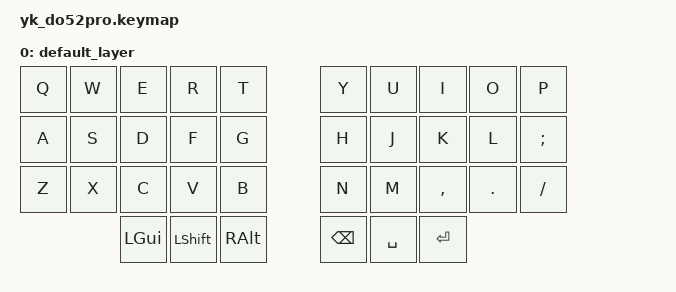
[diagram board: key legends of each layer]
/*
 * Copyright (c) 2020 The ZMK Contributors
 *
 * SPDX-License-Identifier: MIT
 */

#include <behaviors.dtsi>
#include <dt-bindings/zmk/keys.h>
#include <dt-bindings/zmk/bt.h>
#include <dt-bindings/zmk/ext_power.h>


/*
 * Defines to enable/disable features
 *
 * These defines allow us to conditionally enable and disable parts of the keymap config.
 *
 * For example, if we decide to build the firmware without the mouse features, we can
 * disable all the config options that rely on those forks and modules without having
 * to edit the entire keymap file manually every time.
 */

#define HAS_MOUSE_KEYS
#define HAS_MOUSE_TP

#define BASE      0
#define NAVIG     1
#define NUMBER    2
#define SYMBOL    3
#define MEDIA     4
#define FUNCTION  5
#define CONFIG    6
#define MOUSE_TP  7
#define SCROLL_TP 8
#define MOUSE     9


#ifdef HAS_MOUSE_KEYS
  #include <dt-bindings/zmk/mouse.h>
  #include <behaviors/mouse_keys.dtsi>
#endif  // HAS_MOUSE_KEYS

#ifdef HAS_MOUSE_TP
  // We store the trackpoint settings in a separate file
  // to make organization a little easier.
  #include "include/mouse_tp.dtsi"
#endif  // HAS_MOUSE_TP

//#include "include/yk_do52_key.h"                                      // key-position labels
#include "zmk-helpers/helper.h"
//#define KEYS_L LT0 LT1 LT2 LT3 LT4 LM0 LM1 LM2 LM3 LM4 LB0 LB1 LB2 LB3 LB4  // left-hand keys
//#define KEYS_R RT0 RT1 RT2 RT3 RT4 RM0 RM1 RM2 RM3 RM4 RB0 RB1 RB2 RB3 RB4  // right-hand keys
//#define THUMBS LH3 LH2 LH1 LH0 RH0 RH1 RH2 RH3                                      // thumb keys


// Adjust layer keys based on enabled features.
//
// This prevents build errors when we build the firmware
// without the mouse keys PR or the TP module.
#ifdef HAS_MOUSE_KEYS
  #define U_THUMB_INNER &mo MOUSE_KEYS
#else
  #define U_THUMB_INNER &none
#endif  // HAS_MOUSE_KEYS

#ifdef HAS_MOUSE_TP
  #define U_TOG_TP_SET &tog MOUSE_TP_SET
#else
  #define U_TOG_TP_SET &none
#endif  // HAS_MOUSE_TP

// Disable line-wrap in your editor to see a "visualization" of the key layouts
/ {

  
  behaviors {
       /* left-hand HRMs */
        hml: homerow_mods_left {
            compatible = "zmk,behavior-hold-tap";
            flavor = "balanced";
            tapping-term-ms = <280>;
            quick-tap-ms = <175>;                // repeat on tap-into-hold
            require-prior-idle-ms = <150>;
            #binding-cells = <2>;
            bindings = <&kp>, <&kp>;
            //hold-trigger-key-positions = = <KEYS_R THUMBS>;
            hold-trigger-on-release;             // delay positional check until key-release
        };

        /* right-hand HRMs */
        hmr: homerow_mods_right {
            compatible = "zmk,behavior-hold-tap";
            flavor = "balanced";
            tapping-term-ms = <280>;
            quick-tap-ms = <175>;                // repeat on tap-into-hold
            require-prior-idle-ms = <150>;
            #binding-cells = <2>;
            bindings = <&kp>, <&kp>;
            //hold-trigger-key-positions = <KEYS_L THUMBS>;
            hold-trigger-on-release;             // delay positional check until key-release
        };
        tl: thumb_layer {
            compatible = "zmk,behavior-hold-tap";
            flavor = "balanced";
            tapping-term-ms = <280>;
            quick-tap-ms = <175>;                // repeat on tap-into-hold
            require-prior-idle-ms = <150>;
            #binding-cells = <2>;
            bindings = <&mo>, <&kp>;
            hold-trigger-on-release;             // delay positional check until key-release
        };       
  };
  
  keymap {
    compatible = "zmk,keymap";

                default_layer {
// -----------------------------------------------------------------------------------------
// |  TAB |  Q  |  W  |  E  |  R  |  T  |   |  Y  |  U   |  I  |  O  |  P  | BKSP |
// | CTRL |  A  |  S  |  D  |  F  |  G  |   |  H  |  J   |  K  |  L  |  ;  |  '   |
// | SHFT |  Z  |  X  |  C  |  V  |  B  |   |  N  |  M   |  ,  |  .  |  /  | ESC  |
//                    | GUI | LWR | SPC |   | ENT | RSE  | ALT |
                        bindings = <
   &kp Q &kp W &kp E &kp R &kp T   &kp Y &kp U  &kp I     &kp O   &kp P    
   &kp A &kp S &kp D &kp F &kp G   &kp H &kp J  &kp K     &kp L   &kp SEMI 
   &kp Z &kp X &kp C &kp V &kp B   &kp N &kp M  &kp COMMA &kp DOT &kp FSLH 
        &kp LGUI &kp LSHFT &kp RALT &kp BSPC &kp SPACE &kp RET
                        >;
                };

/*
    Nav_layer {
      display-name = "Nav";
         bindings = <
//|------------|-------------|-----------|-----------|---------------|---------------|   |---------------|-------------|-----------|-------------|---------------|------------|
   &trans       &trans        &trans      &trans      &trans          &trans              &trans          &trans        &trans      &trans        &trans          &trans
   &trans       &kp HOME      &kp PG_UP   &kp PG_DN   &kp END         &trans              &trans          &trans        &trans      &trans        &trans          &trans
   &trans       &kp LEFT      &kp DOWN    &kp UP      &kp RIGHT       &caps_word          &trans          &kp LSHIFT    &kp LCTRL   &kp LALT      &kp LMETA       &trans
   &trans       &trans        &trans      &trans      &trans          &trans              &trans          &trans        &trans      &kp RALT      &trans          &trans
   &trans       &trans                                &trans          &trans              &trans          &trans                                  &trans          &trans 
                                        // DPAD Left,      Down,   Middle,     Up,     Right
                                                &trans     &trans  &trans      &trans  &trans  
                                                &trans     &trans  &trans      &trans  &trans 
      >;
    };

    Num_layer {
      display-name = "Number";
        bindings = <
//|------------|-------------|-----------|-----------|---------------|---------------|   |---------------|-------------|-------------|-------------|---------------|------------|
   &kp F12      &kp F1        &kp F2      &kp F3      &kp F4          &kp F5              &kp F6          &kp F7        &kp F8        &kp F9        &kp F10         &kp F11         
   &trans       &trans        &trans      &trans      &trans          &trans              &kp GRAVE       &kp NUMBER_7  &kp NUMBER_8  &kp NUMBER_9  &kp EQUAL       &trans
   &trans       &kp LMETA     &kp LALT    &kp LCTRL   &kp LSHIFT      &trans              &kp LBKT        &kp NUMBER_4  &kp NUMBER_5  &kp NUMBER_6  &kp SQT         &trans
   &trans       &trans        &kp RALT    &trans      &trans          &trans              &kp RBKT        &kp NUMBER_1  &kp NUMBER_2  &kp NUMBER_3  &kp BSLH        &trans
   &trans       &trans                                &trans          &trans              &kp NUMBER_0    &kp MINUS                                 &trans          &trans 
                                        // DPAD Left,      Down,   Middle,     Up,     Right
                                                &trans     &trans  &trans      &trans  &trans  
                                                &trans     &trans  &trans      &trans  &trans 
      >;
    };

   
    Symb_layer {
      display-name = "Symbol";
          bindings = <
//|------------|-------------|-----------|-----------|---------------|---------------|   |---------------|-------------|-----------|-------------|---------------|------------|
   &kp F12      &kp F1        &kp F2      &kp F3      &kp F4          &kp F5              &kp F6          &kp F7        &kp F8        &kp F9        &kp F10         &kp F11
   &trans       &trans        &trans      &trans      &trans          &trans              &kp TILDE       &kp AMPERSAND &kp STAR      &kp LPAR      &kp PLUS        &trans
   &trans       &kp LMETA     &kp LALT    &kp LCTRL   &kp LSHIFT      &trans              &kp LBRC        &kp DOLLAR    &kp PERCENT   &kp CARET     &kp DQT         &trans
   &trans       &trans        &kp RALT    &trans      &trans          &trans              &kp RBRC        &kp EXCL      &kp AT        &kp HASH      &kp PIPE        &trans
   &trans       &trans                                &trans          &trans              &kp RPAR        &kp UNDER                                 &trans          &trans 
                                        // DPAD Left,      Down,   Middle,     Up,     Right
                                                &trans     &trans  &trans      &trans  &trans  
                                                &trans     &trans  &trans      &trans  &trans
      >;
    };

  Media_layer {
      display-name = "Media";
         bindings = <
//|--------------|-------------|-------------|-------------|---------------|---------------|   |---------------|-------------|-----------|-------------|---------------|------------|
   &studio_unlock &trans        &trans        &trans        &trans          &trans              &trans          &trans        &trans      &trans        &trans          &trans
   &trans         &kp C_BRI_DEC &kp C_VOL_DN  &kp C_VOL_UP  &kp C_BRI_INC   &trans              &trans          &trans        &trans      &trans        &trans          &trans
   &trans         &trans        &trans        &trans        &trans          &trans              &trans          &trans        &trans      &trans        &trans          &trans
   &trans         &trans        &trans        &trans        &trans          &trans              &trans          &trans        &trans      &trans        &trans          &trans
   &trans         &trans                                    &trans          &trans              &trans          &trans                                  &trans          &trans 
                                        // DPAD Left,      Down,   Middle,     Up,     Right
                                                &trans     &trans  &trans      &trans  &trans  
                                                &trans     &trans  &trans      &trans  &trans 
      >;
    };



    Func_layer {
      display-name = "Function";
      bindings = <
//|------------|-------------|-----------|-----------|---------------|---------------|   |---------------|-------------|-----------|-------------|---------------|------------|
   &trans       &trans        &trans      &trans      &trans          &trans              &trans          &trans        &trans      &trans        &trans          &trans
   &trans       &trans        &trans      &trans      &trans          &trans              &trans          &kp F7        &kp F8      &kp F9        &kp F10         &trans
   &trans       &trans        &trans      &trans      &trans          &trans              &trans          &kp F4        &kp F5      &kp F6        &kp F11         &trans
   &trans       &trans        &trans      &trans      &trans          &trans              &trans          &kp F1        &kp F2      &kp F3        &kp F12         &trans
   &trans       &trans                                &trans          &trans              &trans          &trans                                  &trans          &trans 
                                        // DPAD Left,      Down,   Middle,     Up,     Right
                                                &trans     &trans  &trans      &trans  &trans 
                                                &trans     &trans  &trans      &trans  &trans
      >;
    };

    Config_layer {
      display-name = "Configuration";
      bindings = <
//|---------------|-------------|-----------|-----------|---------------|---------------|   |---------------|-------------|-----------|-------------|---------------|------------|
   &studio_unlock  &trans        &trans      &trans      &trans          &trans              &trans          &trans        &trans      &trans        &trans          &trans
   &trans          &trans        &trans      &trans      &trans          &trans              &trans          &trans        &trans      &trans        &trans          &trans
   &trans          &trans        &trans      &trans      &trans          &trans              &trans          &trans        &trans      &trans        &trans          &trans
   &trans          &trans        &trans      &trans      &trans          &trans              &trans          &trans        &trans      &trans        &trans          &trans
   &trans          &trans                                &trans          &trans              &trans          &trans                                  &trans          &trans 
                                        // DPAD Left,      Down,   Middle,     Up,     Right
                                                &trans     &trans  &trans      &trans  &trans  
                                                &trans     &trans  &trans      &trans  &trans 
      >;
    };

   
     Mouse_layer {
      display-name = "Mouse";
      bindings = <
//|------------|-------------|-----------|-----------|---------------|---------------|   |---------------|-------------|-----------|-------------|---------------|------------|
   &trans       &trans        &trans      &trans      &trans          &trans              &trans          &trans        &trans      &trans        &trans          &trans
   &trans       &trans        &trans      &trans      &trans          &trans              &trans          &trans        &trans      &mo MOUSE     &mo SCROLL_TP   &trans
   &trans       &trans        &trans      &trans      &trans          &trans              &trans          &trans        &trans      &trans        &trans          &trans
   &trans       &trans        &trans      &trans      &trans          &trans              &trans          &trans        &trans      &trans        &trans          &trans
   &mkp MCLK    &trans                                &trans          &trans              &mkp LCLK       &mkp RCLK                               &trans          &mkp MCLK
                                        // DPAD Left,      Down,   Middle,     Up,     Right
                                                &none      &none   &mkp MCLK   &trans  &none 
                                                &none      &none   &mkp MCLK   &trans  &none 
      >;
    };



     Scroll_layer {
      display-name = "Scroll";
      bindings = <
//|------------|-------------|-----------|-----------|---------------|---------------|   |---------------|-------------|-----------|-------------|---------------|------------|
   &trans       &trans        &trans      &trans      &trans          &trans              &trans          &trans        &trans      &trans        &trans          &trans
   &trans       &trans        &trans      &trans      &trans          &trans              &trans          &trans        &trans      &mo MOUSE     &none           &trans
   &trans       &trans        &trans      &trans      &trans          &trans              &trans          &trans        &trans      &trans        &trans          &trans
   &trans       &trans        &trans      &trans      &trans          &trans              &trans          &trans        &trans      &trans        &trans          &trans
   &mkp MCLK    &trans                                &trans          &trans              &mkp LCLK       &mkp RCLK                               &trans          &mkp MCLK 
                                        // DPAD Left,      Down,   Middle,     Up,     Right
                                                &trans     &trans  &mkp MCLK   &trans  &trans  
                                                &trans     &trans  &mkp MCLK   &trans  &trans 
      >;
    };


      Mouse_layer1 {
      display-name = "Mouse";
      bindings = <
//|------------|-------------|-----------|-----------|---------------|---------------|   |---------------|-------------|-----------|-------------|---------------|------------|
   &trans       &trans        &trans      &trans      &trans          &trans              &trans          &trans        &trans      &trans        &trans          &trans
   &trans       &trans        &trans      &trans      &trans          &trans              &trans          &trans        &trans      &trans        &mo SCROLL_TP   &trans
   &trans       &trans        &trans      &trans      &trans          &trans              &trans          &trans        &trans      &trans        &trans          &trans
   &trans       &trans        &trans      &trans      &trans          &trans              &trans          &trans        &trans      &trans        &trans          &trans
   &mkp MCLK    &trans                                &trans          &trans              &mkp LCLK       &mkp RCLK                               &trans          &mkp MCLK
                                        // DPAD Left,      Down,   Middle,     Up,     Right
                                                &none      &none   &mkp MCLK   &trans  &none 
                                                &none      &none   &mkp MCLK   &trans  &none 
      >;
    };


#ifdef HAS_MOUSE_KEYS

#endif
#ifdef HAS_MOUSE_TP
//         // You can find the defines for the actual key press behaviors in `include/mouse_tp.dtsi`.
//         MouseSettings_layer {
//           display-name = "TP Set";
//           bindings = <
//     // ╭────────────────────────┬────────────────────────┬────────────────────────┬────────────────────────┬────────────────────────┬────────────────────────╮    ╭────────────────────────┬────────────────────────┬────────────────────────┬────────────────────────┬────────────────────────┬────────────────────────╮
//          U_TOG_TP_SET             U_TOG_TP_SET             &none                    U_MSS_TP_S_D             U_MSS_TP_S_I             U_MSS_TP_PT_I                 U_MSS_TP_PT_I            U_MSS_TP_S_D             U_MSS_TP_S_I             &none                    U_TOG_TP_SET              U_TOG_TP_SET
//     // ├────────────────────────┼────────────────────────┼────────────────────────┼────────────────────────┼────────────────────────┼────────────────────────┤    ├────────────────────────┼────────────────────────┼────────────────────────┼────────────────────────┼────────────────────────┼────────────────────────┤
//          U_MSS_RESET              U_MSS_RESET              &none                    U_MSS_TP_NI_D            U_MSS_TP_NI_I            U_MSS_TP_PT_D                 U_MSS_TP_PT_D            U_MSS_TP_NI_D            U_MSS_TP_NI_I            &none                    U_MSS_RESET               U_MSS_RESET
//     // ├────────────────────────┼────────────────────────┼────────────────────────┼────────────────────────┼────────────────────────┼────────────────────────┤    ├────────────────────────┼────────────────────────┼────────────────────────┼────────────────────────┼────────────────────────┼────────────────────────┤
//          U_MSS_LOG                U_MSS_LOG                &none                    U_MSS_TP_V6_D            U_MSS_TP_V6_I            &none                         &none                    U_MSS_TP_V6_D            U_MSS_TP_V6_I            &none                    U_MSS_LOG                 U_MSS_LOG
//     // ╰────────────────────────┴────────────────────────┴────────────────────────┴────────────────────────┼────────────────────────┼────────────────────────┤    ├────────────────────────┼────────────────────────┼────────────────────────┼────────────────────────┴────────────────────────┼────────────────────────╯
//                                                                                     &trans                   &mkp LCLK                &mkp RCLK                     &none                    &mkp LCLK                &mkp RCLK
//     //                                                                            ╰────────────────────────┴────────────────────────┴────────────────────────╯    ╰────────────────────────┴────────────────────────┴────────────────────────╯
//           >;
//         };


#endif

*/

  };
};









































